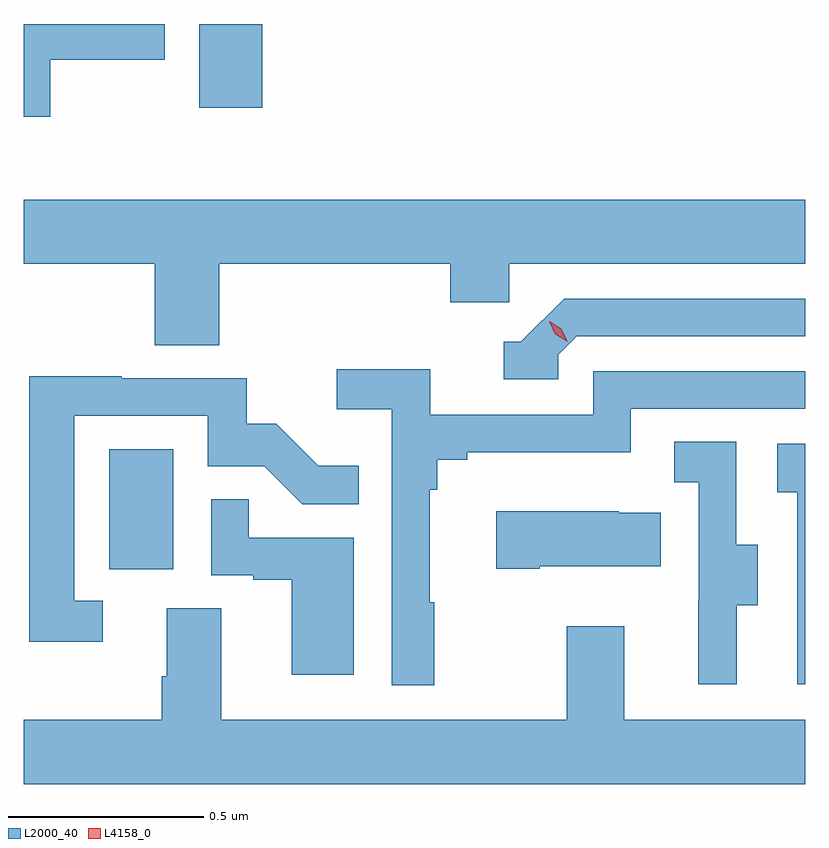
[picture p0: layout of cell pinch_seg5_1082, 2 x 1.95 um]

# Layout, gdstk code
import gdstk
lib = gdstk.Library(unit=1e-6, precision=1e-09)
def R(c, l, rs):  # rectangles x0, y0, x1, y1
    for r in rs: c.add(gdstk.rectangle(r[:2], r[2:], *l))
def P(c, l, *ps):  # polygons
    for p in ps: c.add(gdstk.Polygon(p, *l))
L2000_40 = (2000, 40)
L4158_0 = (4158, 0)

pinch_seg5_1082 = lib.new_cell('pinch_seg5_1082')
R(pinch_seg5_1082, L2000_40, [(853.298,859.974,853.462,860.281), (853.529,861.156,853.69,861.37)])
P(pinch_seg5_1082, L2000_40, [(853.147,861.279),(853.44,861.279),(853.44,861.37),(853.08,861.37),(853.08,861.132),(853.147,861.132)],
  [(853.58,860.756),(854.171,860.756),(854.171,860.658),(854.322,860.658),(854.322,860.756),(855.08,860.756),(855.08,860.92),(853.08,860.92),(853.08,860.756),(853.415,860.756),(853.415,860.548),(853.58,860.548)],
  [(854.448,860.523),(854.496,860.571),(855.08,860.571),(855.08,860.667),(854.463,860.667),(854.352,860.556),(854.309,860.556),(854.309,860.46),(854.448,860.46)],
  [(854.131,859.889),(854.119,859.889),(854.119,860.177),(854.138,860.177),(854.138,860.254),(854.215,860.254),(854.215,860.273),(854.634,860.273),(854.634,860.385),(855.08,860.385),(855.08,860.481),(854.538,860.481),(854.538,860.37),(854.12,860.37),(854.12,860.486),(853.881,860.486),(853.881,860.384),(854.022,860.384),(854.022,859.677),(854.131,859.677)],
  [(853.282,859.893),(853.209,859.893),(853.209,860.367),(853.551,860.367),(853.551,860.238),(853.695,860.238),(853.793,860.14),(853.937,860.14),(853.937,860.239),(853.833,860.239),(853.726,860.346),(853.65,860.346),(853.65,860.463),(853.331,860.463),(853.331,860.468),(853.093,860.468),(853.093,859.788),(853.282,859.788)],
  [(854.905,859.882),(854.959,859.882),(854.959,860.037),(854.904,860.037),(854.904,860.3),(854.745,860.3),(854.745,860.197),(854.808,860.197),(854.808,859.893),(854.807,859.893),(854.807,859.68),(854.905,859.68)],
  [(855.08,860.295),(855.009,860.295),(855.009,860.171),(855.06,860.171),(855.06,859.68),(855.08,859.68)],
  [(853.924,860.055),(853.655,860.055),(853.655,860.153),(853.56,860.153),(853.56,859.959),(853.667,859.959),(853.667,859.947),(853.766,859.947),(853.766,859.704),(853.924,859.704)],
  [(854.401,859.982),(854.711,859.982),(854.711,860.119),(854.603,860.119),(854.603,860.122),(854.289,860.122),(854.289,859.975),(854.401,859.975)],
  [(855.08,859.588),(854.617,859.588),(854.617,859.828),(854.47,859.828),(854.47,859.588),(853.585,859.588),(853.585,859.874),(853.445,859.874),(853.445,859.7),(853.433,859.7),(853.433,859.588),(853.08,859.588),(853.08,859.424),(855.08,859.424)])
P(pinch_seg5_1082, L4158_0, [(854.472,860.557),(854.441,860.576),(854.425,860.609),(854.425,860.609),(854.425,860.609),(854.456,860.59),(854.472,860.557),(854.472,860.557)])

lib.write_gds('pinch_seg5_1082.gds')
